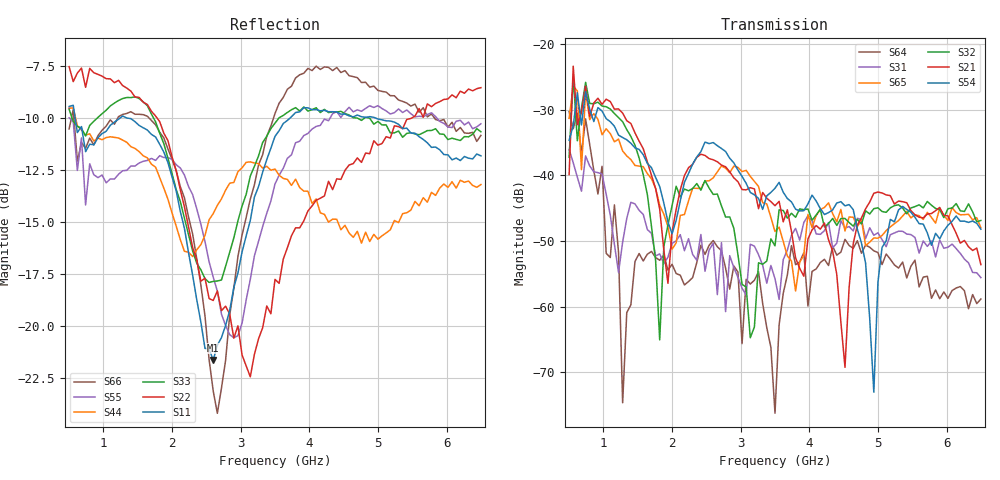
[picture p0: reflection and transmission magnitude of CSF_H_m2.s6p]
!Keysight Technologies,M9804A,MY58100912,A.14.10.03
!Date: Thursday, April 27, 2023 10:28:33
!Correction: S11(C  6-Port  )
!S12(C  6-Port  )
!S13(C  6-Port  )
!S14(C  6-Port  )
!S15(C  6-Port  )
!S16(C  6-Port  )
!S21(C  6-Port  )
!S22(C  6-Port  )
!S23(C  6-Port  )
!S24(C  6-Port  )
!S25(C  6-Port  )
!S26(C  6-Port  )
!S31(C  6-Port  )
!S32(C  6-Port  )
!S33(C  6-Port  )
!S34(C  6-Port  )
!S35(C  6-Port  )
!S36(C  6-Port  )
!S41(C  6-Port  )
!S42(C  6-Port  )
!S43(C  6-Port  )
!S44(C  6-Port  )
!S45(C  6-Port  )
!S46(C  6-Port  )
!S51(C  6-Port  )
!S52(C  6-Port  )
!S53(C  6-Port  )
!S54(C  6-Port  )
!S55(C  6-Port  )
!S56(C  6-Port  )
!S61(C  6-Port  )
!S62(C  6-Port  )
!S63(C  6-Port  )
!S64(C  6-Port  )
!S65(C  6-Port  )
!S66(C  6-Port  )
!S6P File: Measurement: :
# Hz S  RI  R 50
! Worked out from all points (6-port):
!   101 points, 500 MHz to 6.5 GHz, reference 50 ohm
!   strongest paths, dB at 500 MHz, 2 GHz, 3.5 GHz, 5 GHz, 6.5 GHz:
!     S54: -34.6, -48.9, -42.0, -56.2, -48.2
!     S21: -39.9, -48.6, -44.6, -42.5, -53.6
!     S32: -37.3, -44.6, -50.7, -44.9, -46.9
!     S65: -31.3, -51.2, -48.6, -49.6, -48.0
!     S31: -36.0, -50.4, -55.7, -48.7, -55.6
!     S64: -30.3, -53.5, -76.2, -51.8, -58.8
!   lowest |S11| = -21.6 dB at 2.6 GHz (marker M1), VSWR 1.18, Z = 42.6 + j2.04 ohm
!   |S11| at or under -10 dB: 588.5 MHz to 1.238 GHz (649.9 MHz wide, 71.1 % of centre); 1.363 GHz to 3.716 GHz (2.353 GHz wide, 92.7 % of centre); 4.972 GHz to end of sweep
